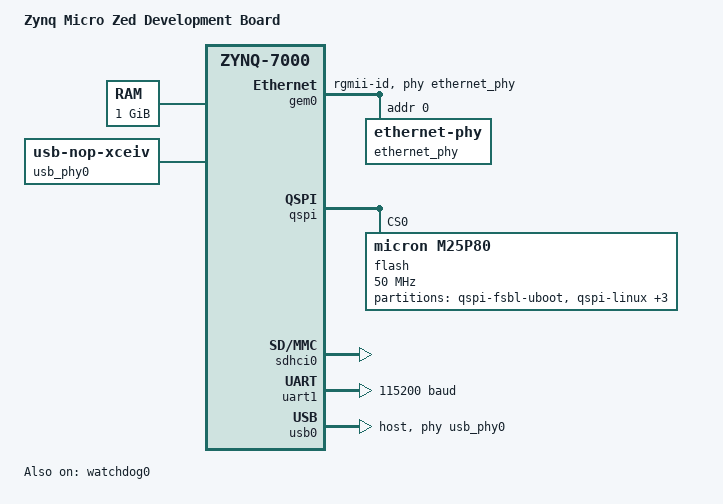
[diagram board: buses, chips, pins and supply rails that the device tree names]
/*
 *  Copyright (C) 2015 Xilinx
 *  Copyright (C) 2015 WindRiver
 *
 * This software is licensed under the terms of the GNU General Public
 * License version 2, as published by the Free Software Foundation, and
 * may be copied, distributed, and modified under those terms.
 *
 * This program is distributed in the hope that it will be useful,
 * but WITHOUT ANY WARRANTY; without even the implied warranty of
 * MERCHANTABILITY or FITNESS FOR A PARTICULAR PURPOSE.  See the
 * GNU General Public License for more details.
 */
/dts-v1/;
/include/ "zynq-7000.dtsi"

/ {
	model = "Zynq Micro Zed Development Board";
	compatible = "xlnx,zynq-microzed", "xlnx,zynq-7000";

	aliases {
		ethernet0 = &gem0;
		serial0 = &uart1;
		mmc0 = &sdhci0;
	};

	memory@0 {
		device_type = "memory";
		reg = <0x0 0x40000000>;
	};

	chosen {
		bootargs = "console=ttyPS0,115200 earlyprintk";
		linux,stdout-path = "/axi@0/serial@e0001000";
	};

	usb_phy0: phy0 {
		compatible = "usb-nop-xceiv";
		#phy-cells = <0>;
	};
};

&clkc {
	ps-clk-frequency = <33333333>;
};

&gem0 {
	compatible = "cdns,gem", "xlnx,ps7-ethernet-1.00.a";
	status = "okay";
	clocks = <&clkc 30>, <&clkc 13>;
	clock-names =  "aper_clk", "ref_clk";
	phy-mode = "rgmii-id";
	phy-handle = <&ethernet_phy>;
	xlnx,enet-reset = <0xffffffff>;
	xlnx,eth-mode = <0x1>;
	xlnx,has-mdio = <0x1>;
	xlnx,ptp-enet-clock = <0x69f6bcb>;

	ethernet_phy: ethernet-phy@0 {
		reg = <0>;
	};
};

&qspi {
	status = "okay";

	flash@0 {
		compatible = "micron,m25p80", "spansion,s25fl128s", "jedec,spi-nor", "n25q128";
		reg = <0x0>;
		spi-max-frequency = <50000000>;
		#address-cells = <1>;
		#size-cells = <1>;
		partition@qspi-fsbl-uboot {
			label = "qspi-fsbl-uboot";
			reg = <0x0 0x100000>;
		};
		partition@qspi-linux {
			label = "qspi-linux";
			reg = <0x100000 0x500000>;
		};
		partition@qspi-device-tree {
			label = "qspi-device-tree";
			reg = <0x600000 0x20000>;
		};
		partition@qspi-rootfs {
			label = "qspi-rootfs";
			reg = <0x620000 0x5E0000>;
		};
		partition@qspi-bitstream {
			label = "qspi-bitstream";
			reg = <0xC00000 0x400000>;
		};
	};
};

&sdhci0 {
	status = "okay";
};

&uart1 {
	status = "okay";
	port-number = <0x0>;
	current-speed = <0x1c200>;
	xlnx,has-modem = <0x0>;
};

&watchdog0 {
	status = "okay";
	reset-on-timeout;
};

&usb0 {
	status = "okay";
	dr_mode = "host";
	usb-phy = <&usb_phy0>;
};
